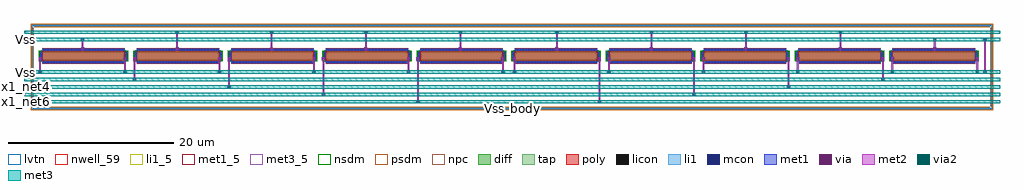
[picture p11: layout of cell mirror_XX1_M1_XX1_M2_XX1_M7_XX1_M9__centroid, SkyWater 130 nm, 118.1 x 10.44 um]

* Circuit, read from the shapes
.subckt mirror_XX1_M1_XX1_M2_XX1_M7_XX1_M9__centroid Vss Vss_body net4 x1_net3 x1_net4 x1_net5 x1_net6
XM1 Vss Vss Vss Vss_body sky130_fd_pr__nfet_01v8_lvt w=1 l=10 m=2
XM2 Vss net4 x1_net3 Vss_body sky130_fd_pr__nfet_01v8_lvt w=1 l=10 m=2
XM3 Vss net4 x1_net4 Vss_body sky130_fd_pr__nfet_01v8_lvt w=1 l=10 m=2
XM4 Vss net4 x1_net5 Vss_body sky130_fd_pr__nfet_01v8_lvt w=1 l=10 m=2
XM5 Vss net4 x1_net6 Vss_body sky130_fd_pr__nfet_01v8_lvt w=1 l=10 m=2
.ends

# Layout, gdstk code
from math import pi, radians
import gdstk
lib = gdstk.Library(unit=1e-6, precision=1e-09)
def R(c, l, rs):  # rectangles x0, y0, x1, y1
    for r in rs: c.add(gdstk.rectangle(r[:2], r[2:], *l))
def A(c, l, x, y, w, h, nx, ny, dx, dy):  # array of equal rectangles
    R(c, l, [(x+i*dx, y+j*dy, x+i*dx+w, y+j*dy+h) for i in range(nx) for j in range(ny)])
nwell_59 = (64, 59)
diff = (65, 20)
tap = (65, 44)
poly = (66, 20)
licon = (66, 44)
li1_5 = (67, 5)
li1 = (67, 20)
mcon = (67, 44)
met1_5 = (68, 5)
met1 = (68, 20)
via = (68, 44)
met2 = (69, 20)
via2 = (69, 44)
met3_5 = (70, 5)
met3 = (70, 20)
nsdm = (93, 44)
psdm = (94, 20)
npc = (95, 20)
lvtn = (125, 44)

sky130_fd_pr__nfet_01v8_ = lib.new_cell('sky130_fd_pr__nfet_01v8_lvt_7VF3LY')
R(sky130_fd_pr__nfet_01v8_, diff, [(-5.29,-0.5,5.29,0.5)])
R(sky130_fd_pr__nfet_01v8_, poly, [(-5,-0.94,5,0.94)])
A(sky130_fd_pr__nfet_01v8_, licon, -4.845, -0.86, 0.17, 0.17, 29, 2, 0.34, 1.55)
A(sky130_fd_pr__nfet_01v8_, licon, -5.23, -0.425, 0.17, 0.17, 1, 3, 0, 0.34)
A(sky130_fd_pr__nfet_01v8_, licon, 5.06, -0.425, 0.17, 0.17, 1, 3, 0, 0.34)
R(sky130_fd_pr__nfet_01v8_, li1, [(-5,-0.86,5,-0.69), (-5.23,-0.52,-5.06,0.52), (5.06,-0.52,5.23,0.52), (-5,0.69,5,0.86)])
A(sky130_fd_pr__nfet_01v8_, mcon, -4.765, -0.86, 0.17, 0.17, 27, 2, 0.36, 1.55)
R(sky130_fd_pr__nfet_01v8_, mcon, [(-5.23,-0.265,-5.06,-0.095), (5.06,-0.265,5.23,-0.095), (-5.23,0.095,-5.06,0.265), (5.06,0.095,5.23,0.265)])
R(sky130_fd_pr__nfet_01v8_, met1, [(-4.98,-0.89,4.98,-0.66), (-5.26,-0.5,-5.03,0.5), (5.03,-0.5,5.26,0.5), (-4.98,0.66,4.98,0.89)])
R(sky130_fd_pr__nfet_01v8_, nsdm, [(-5.415,-0.625,5.415,0.625)])
R(sky130_fd_pr__nfet_01v8_, npc, [(-4.945,-0.96,4.945,-0.59), (-4.945,0.59,4.945,0.96)])
R(sky130_fd_pr__nfet_01v8_, lvtn, [(-5.18,-0.68,5.18,0.68)])
sky130_fd_pr__nfet_01v8_.add(gdstk.Label('D', (-5.145,0), layer=67, texttype=5))
sky130_fd_pr__nfet_01v8_.add(gdstk.Label('S', (5.145,0), layer=67, texttype=5))
sky130_fd_pr__nfet_01v8_.add(gdstk.Label('G', (0,0.775), layer=67, texttype=5))

nfet_01v8_lvt_w1_l10_m2_ = lib.new_cell('nfet_01v8_lvt_W1_L10_m2__nf1_gboth_sdfull_ng')
R(nfet_01v8_lvt_w1_l10_m2_, nwell_59, [(0.05,0.89,0.15,0.99)])
R(nfet_01v8_lvt_w1_l10_m2_, met1_5, [(0.03,0.94,0.26,1.14), (10.32,0.94,10.55,1.14), (0.31,1.6,10.27,1.83)])
R(nfet_01v8_lvt_w1_l10_m2_, met1, [(0.03,0.94,0.26,1.14), (10.32,0.94,10.55,1.14), (0.31,1.6,10.27,1.83)])
nfet_01v8_lvt_w1_l10_m2_.add(gdstk.Reference(sky130_fd_pr__nfet_01v8_, (5.29,0.94)))
nfet_01v8_lvt_w1_l10_m2_.add(gdstk.Label('D', (0.145,1.04), layer=68, texttype=5))
nfet_01v8_lvt_w1_l10_m2_.add(gdstk.Label('S', (10.435,1.04), layer=68, texttype=5))
nfet_01v8_lvt_w1_l10_m2_.add(gdstk.Label('G', (5.29,1.715), layer=68, texttype=5))
nfet_01v8_lvt_w1_l10_m2_.add(gdstk.Label('B', (0.1,0.94), layer=64, texttype=59))

mirror_xx1_m1_xx1_m2_xx1 = lib.new_cell('mirror_XX1_M1_XX1_M2_XX1_M7_XX1_M9__centroid')
R(mirror_xx1_m1_xx1_m2_xx1, tap, [(-0.885,-5.485,115.385,-5.315), (-0.885,-5.315,-0.715,4.535), (115.215,-5.315,115.385,4.535), (-0.885,4.535,115.385,4.705)])
A(mirror_xx1_m1_xx1_m2_xx1, licon, -0.465, -5.485, 0.17, 0.17, 340, 2, 0.34, 10.02)
A(mirror_xx1_m1_xx1_m2_xx1, licon, -0.885, -5.065, 0.17, 0.17, 1, 28, 0, 0.34)
A(mirror_xx1_m1_xx1_m2_xx1, licon, 115.215, -5.065, 0.17, 0.17, 1, 28, 0, 0.34)
R(mirror_xx1_m1_xx1_m2_xx1, li1_5, [(57.2,-5.45,57.3,-5.35)])
R(mirror_xx1_m1_xx1_m2_xx1, li1, [(-0.885,-5.485,115.385,-5.315), (-0.885,-5.315,-0.715,4.535), (115.215,-5.315,115.385,4.535), (-0.885,4.535,115.385,4.705)])
A(mirror_xx1_m1_xx1_m2_xx1, met1, 5.11, 1.63, 0.36, 0.36, 5, 1, 11.43, 0)
A(mirror_xx1_m1_xx1_m2_xx1, met1, 62.51, 1.63, 0.36, 0.36, 5, 1, 11.43, 0)
R(mirror_xx1_m1_xx1_m2_xx1, met1, [(-0.035,0.44,0.325,0.8), (10.255,0.44,10.615,0.8), (11.395,0.44,11.755,0.8), (21.685,0.44,22.045,0.8), (22.825,0.44,23.185,0.8), (33.115,0.44,33.475,0.8), (34.255,0.44,34.615,0.8), (44.545,0.44,44.905,0.8), (45.685,0.44,46.045,0.8), (55.975,0.44,56.335,0.8), (57.365,0.44,57.725,0.8), (67.655,0.44,68.015,0.8), (68.795,0.44,69.155,0.8), (79.085,0.44,79.445,0.8), (80.225,0.44,80.585,0.8), (90.515,0.44,90.875,0.8), (91.655,0.44,92.015,0.8), (101.945,0.44,102.305,0.8), (103.085,0.44,103.445,0.8), (113.375,0.44,113.735,0.8)])
A(mirror_xx1_m1_xx1_m2_xx1, via, 5.215, 1.735, 0.15, 0.15, 5, 1, 11.43, 0)
A(mirror_xx1_m1_xx1_m2_xx1, via, 62.615, 1.735, 0.15, 0.15, 5, 1, 11.43, 0)
R(mirror_xx1_m1_xx1_m2_xx1, via, [(0.07,0.545,0.22,0.695), (10.36,0.545,10.51,0.695), (11.5,0.545,11.65,0.695), (21.79,0.545,21.94,0.695), (22.93,0.545,23.08,0.695), (33.22,0.545,33.37,0.695), (34.36,0.545,34.51,0.695), (44.65,0.545,44.8,0.695), (45.79,0.545,45.94,0.695), (56.08,0.545,56.23,0.695), (57.47,0.545,57.62,0.695), (67.76,0.545,67.91,0.695), (68.9,0.545,69.05,0.695), (79.19,0.545,79.34,0.695), (80.33,0.545,80.48,0.695), (90.62,0.545,90.77,0.695), (91.76,0.545,91.91,0.695), (102.05,0.545,102.2,0.695), (103.19,0.545,103.34,0.695), (113.48,0.545,113.63,0.695)])
A(mirror_xx1_m1_xx1_m2_xx1, met2, 10.235, -1.2, 0.4, 0.4, 5, 1, 11.43, 0)
A(mirror_xx1_m1_xx1_m2_xx1, met2, 57.345, -1.2, 0.4, 0.4, 5, 1, 11.43, 0)
A(mirror_xx1_m1_xx1_m2_xx1, met2, 10.335, -0.8, 0.2, 1.26, 5, 1, 11.43, 0)
A(mirror_xx1_m1_xx1_m2_xx1, met2, 57.445, -0.8, 0.2, 1.26, 5, 1, 11.43, 0)
A(mirror_xx1_m1_xx1_m2_xx1, met2, 5.16, 1.65, 0.26, 0.32, 5, 1, 11.43, 0)
A(mirror_xx1_m1_xx1_m2_xx1, met2, 62.56, 1.65, 0.26, 0.32, 5, 1, 11.43, 0)
A(mirror_xx1_m1_xx1_m2_xx1, met2, 16.62, 1.97, 0.2, 1.65, 4, 1, 11.43, 0)
A(mirror_xx1_m1_xx1_m2_xx1, met2, 62.59, 1.97, 0.2, 1.65, 4, 1, 11.43, 0)
A(mirror_xx1_m1_xx1_m2_xx1, met2, 16.52, 3.62, 0.4, 0.4, 4, 1, 11.43, 0)
A(mirror_xx1_m1_xx1_m2_xx1, met2, 62.49, 3.62, 0.4, 0.4, 4, 1, 11.43, 0)
R(mirror_xx1_m1_xx1_m2_xx1, met2, [(45.665,-4.8,46.065,-4.4), (67.635,-4.8,68.035,-4.4), (45.765,-4.4,45.965,0.46), (67.735,-4.4,67.935,0.46), (34.235,-3.9,34.635,-3.5), (79.065,-3.9,79.465,-3.5), (34.335,-3.5,34.535,0.46), (79.165,-3.5,79.365,0.46), (22.805,-3,23.205,-2.6), (90.495,-3,90.895,-2.6), (22.905,-2.6,23.105,0.46), (90.595,-2.6,90.795,0.46), (11.375,-2.1,11.775,-1.7), (101.925,-2.1,102.325,-1.7), (11.475,-1.7,11.675,0.46), (102.025,-1.7,102.225,0.46), (-0.055,-1.2,0.345,-0.8), (113.355,-1.2,113.755,-0.8), (114.3,-1.2,114.7,-0.8), (0.045,-0.8,0.245,0.46), (113.455,-0.8,113.655,0.46), (114.4,-0.8,114.6,2.72), (0.015,0.46,0.275,0.78), (10.305,0.46,10.565,0.78), (11.445,0.46,11.705,0.78), (21.735,0.46,21.995,0.78), (22.875,0.46,23.135,0.78), (33.165,0.46,33.425,0.78), (34.305,0.46,34.565,0.78), (44.595,0.46,44.855,0.78), (45.735,0.46,45.995,0.78), (56.025,0.46,56.285,0.78), (57.415,0.46,57.675,0.78), (67.705,0.46,67.965,0.78), (68.845,0.46,69.105,0.78), (79.135,0.46,79.395,0.78), (80.275,0.46,80.535,0.78), (90.565,0.46,90.825,0.78), (91.705,0.46,91.965,0.78), (101.995,0.46,102.255,0.78), (103.135,0.46,103.395,0.78), (113.425,0.46,113.685,0.78), (5.19,1.97,5.39,2.72), (108.31,1.97,108.51,2.72), (5.09,2.72,5.49,3.12), (108.21,2.72,108.61,3.12), (114.3,2.72,114.7,3.12)])
A(mirror_xx1_m1_xx1_m2_xx1, via2, 10.335, -1.1, 0.2, 0.2, 5, 1, 11.43, 0)
A(mirror_xx1_m1_xx1_m2_xx1, via2, 57.445, -1.1, 0.2, 0.2, 5, 1, 11.43, 0)
A(mirror_xx1_m1_xx1_m2_xx1, via2, 16.62, 3.72, 0.2, 0.2, 4, 1, 11.43, 0)
A(mirror_xx1_m1_xx1_m2_xx1, via2, 62.59, 3.72, 0.2, 0.2, 4, 1, 11.43, 0)
R(mirror_xx1_m1_xx1_m2_xx1, via2, [(45.765,-4.7,45.965,-4.5), (67.735,-4.7,67.935,-4.5), (34.335,-3.8,34.535,-3.6), (79.165,-3.8,79.365,-3.6), (22.905,-2.9,23.105,-2.7), (90.595,-2.9,90.795,-2.7), (11.475,-2,11.675,-1.8), (102.025,-2,102.225,-1.8), (0.045,-1.1,0.245,-0.9), (113.455,-1.1,113.655,-0.9), (114.4,-1.1,114.6,-0.9), (5.19,2.82,5.39,3.02), (108.31,2.82,108.51,3.02), (114.4,2.82,114.6,3.02)])
A(mirror_xx1_m1_xx1_m2_xx1, met3_5, -1.7, -4.65, 0.1, 0.1, 1, 5, 0, 0.9)
R(mirror_xx1_m1_xx1_m2_xx1, met3_5, [(-1.7,2.87,-1.6,2.97), (-1.7,3.77,-1.6,3.87)])
A(mirror_xx1_m1_xx1_m2_xx1, met3, -1.8, -4.8, 118.1, 0.4, 1, 5, 0, 0.9)
R(mirror_xx1_m1_xx1_m2_xx1, met3, [(-1.8,2.72,116.3,3.12), (-1.8,3.62,116.3,4.02)])
R(mirror_xx1_m1_xx1_m2_xx1, psdm, [(-1.01,-5.61,115.51,-5.19), (-1.01,-5.19,-0.59,4.41), (115.09,-5.19,115.51,4.41), (-1.01,4.41,115.51,4.83)])
mirror_xx1_m1_xx1_m2_xx1.add(gdstk.Reference(nfet_01v8_lvt_w1_l10_m2_, (0.13,0)))
mirror_xx1_m1_xx1_m2_xx1.add(gdstk.Reference(nfet_01v8_lvt_w1_l10_m2_, (11.56,0)))
mirror_xx1_m1_xx1_m2_xx1.add(gdstk.Reference(nfet_01v8_lvt_w1_l10_m2_, (22.99,0)))
mirror_xx1_m1_xx1_m2_xx1.add(gdstk.Reference(nfet_01v8_lvt_w1_l10_m2_, (34.42,0)))
mirror_xx1_m1_xx1_m2_xx1.add(gdstk.Reference(nfet_01v8_lvt_w1_l10_m2_, (45.85,0)))
mirror_xx1_m1_xx1_m2_xx1.add(gdstk.Reference(nfet_01v8_lvt_w1_l10_m2_, (67.86,0), rotation=pi, x_reflection=True))
mirror_xx1_m1_xx1_m2_xx1.add(gdstk.Reference(nfet_01v8_lvt_w1_l10_m2_, (79.29,0), rotation=pi, x_reflection=True))
mirror_xx1_m1_xx1_m2_xx1.add(gdstk.Reference(nfet_01v8_lvt_w1_l10_m2_, (90.72,0), rotation=pi, x_reflection=True))
mirror_xx1_m1_xx1_m2_xx1.add(gdstk.Reference(nfet_01v8_lvt_w1_l10_m2_, (102.15,0), rotation=pi, x_reflection=True))
mirror_xx1_m1_xx1_m2_xx1.add(gdstk.Reference(nfet_01v8_lvt_w1_l10_m2_, (113.58,0), rotation=pi, x_reflection=True))
mirror_xx1_m1_xx1_m2_xx1.add(gdstk.Label('Vss', (-1.65,2.92), layer=70, texttype=5))
mirror_xx1_m1_xx1_m2_xx1.add(gdstk.Label('net4', (-1.65,3.82), layer=70, texttype=5))
mirror_xx1_m1_xx1_m2_xx1.add(gdstk.Label('Vss', (-1.65,-1), layer=70, texttype=5))
mirror_xx1_m1_xx1_m2_xx1.add(gdstk.Label('x1_net3', (-1.65,-1.9), layer=70, texttype=5))
mirror_xx1_m1_xx1_m2_xx1.add(gdstk.Label('x1_net4', (-1.65,-2.8), layer=70, texttype=5))
mirror_xx1_m1_xx1_m2_xx1.add(gdstk.Label('x1_net5', (-1.65,-3.7), layer=70, texttype=5))
mirror_xx1_m1_xx1_m2_xx1.add(gdstk.Label('x1_net6', (-1.65,-4.6), layer=70, texttype=5))
mirror_xx1_m1_xx1_m2_xx1.add(gdstk.Label('Vss_body', (57.25,-5.4), layer=67, texttype=5))

lib.write_gds('mirror_XX1_M1_XX1_M2_XX1_M7_XX1_M9__centroid.gds')
